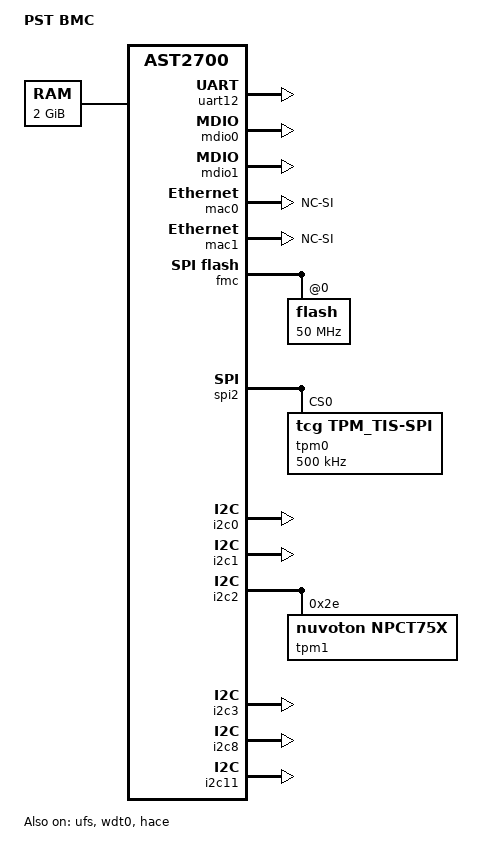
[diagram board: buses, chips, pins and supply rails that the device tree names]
// SPDX-License-Identifier: GPL-2.0+

/dts-v1/;

#include "ast2700.dtsi"
#include "ast2700-u-boot.dtsi"

/ {
	model = "PST BMC";
	compatible = "ibm,pstbmc", "aspeed,ast2700";

	memory {
		device_type = "memory";
		reg = <0x4 0x00000000 0x0 0x80000000>;
	};

	chosen {
		stdout-path = &uart12;
	};

	reserved-memory {
		#address-cells = <2>;
		#size-cells = <2>;

		#include "ast2700-evb-reserved-mem.dtsi"

		event_log: tcg_event_log@431c00000 {
			no-map;
			reg = <0x4 0x31c00000 0x0 0x100000>;
		};
	};
};

&uart12 {
	status = "okay";
};

&mdio0 {
	status = "okay";
	#address-cells = <1>;
	#size-cells = <0>;
};

&mdio1 {
	status = "okay";
	#address-cells = <1>;
	#size-cells = <0>;
};

&mac0 {
	status = "okay";
	phy-mode = "NC-SI";
	use-ncsi;

	pinctrl-names = "default";
	pinctrl-0 = <&pinctrl_rmii0_default>,
		    <&pinctrl_rmii0_rclko_default>;
};

&mac1 {
	status = "okay";
	phy-mode = "NC-SI";
	use-ncsi;

	pinctrl-names = "default";
	pinctrl-0 = <&pinctrl_rmii1_default>,
		    <&pinctrl_rmii1_rclko_default>;
};

&fmc {
	status = "okay";
	pinctrl-names = "default";
	pinctrl-0 = <&pinctrl_fwspi_quad_default>;

	flash@0 {
		status = "okay";
		spi-max-frequency = <50000000>;
		spi-tx-bus-width = <1>;
		spi-rx-bus-width = <1>;
	};
};

&spi2 {
	status = "okay";
	pinctrl-names = "default";
	pinctrl-0 = <&pinctrl_spi2_default>;
	compatible = "aspeed,ast2700-spi-txrx";
	spi-aspeed-full-duplex;

	tpm0: tpmdev@0 {
		compatible = "tcg,tpm_tis-spi";
		spi-max-frequency = <500000>;
		reg = <0>;
		memory-region = <&event_log>;
		status = "okay";
	};
};

&ufs {
	status = "okay";
};

&i2c0 {
	status = "okay";
};

&i2c1 {
	status = "okay";
};

&i2c2 {
	status = "okay";

	tpm1: tpm@2e {
		compatible = "nuvoton,npct75x";
		reg = <0x2e>;
		memory-region = <&event_log>;
	};
};

&i2c3 {
	status = "okay";
};

&i2c8 {
	status = "okay";
};

&i2c11 {
	status = "okay";
};

&wdt0 {
	status = "okay";
};

&hace {
	status = "okay";
};

&soc1_clk {
	mac0-clk-delay = <0x18 0x16
			  0x10 0x10
			  0x10 0x10>;
	mac1-clk-delay = <0x18 0x17
			  0x10 0x10
			  0x10 0x10>;
};

&soc0 {
	mbox-bootmcu-1 {
		compatible = "aspeed,aspeed-mbox";
		reg = <0x4 0x31880000 0x0 0x100000>, <0x4 0x31980000 0x0 0x100000>;
		mboxes = <&mbox2 1>;
	};
};
